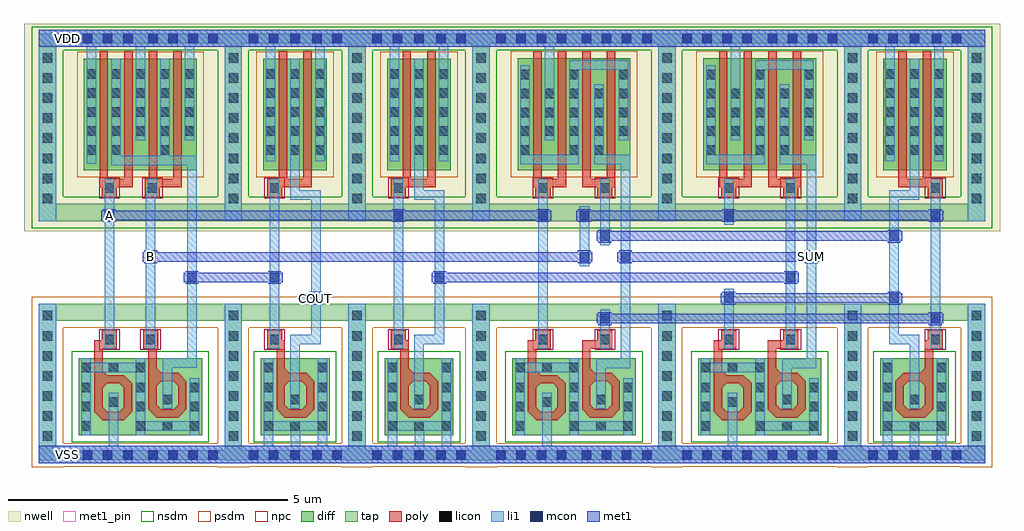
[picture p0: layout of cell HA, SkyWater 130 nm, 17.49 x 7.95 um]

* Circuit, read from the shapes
.subckt HA A B COUT SUM VDD VSS
XM1 n1 A VSS VSS sky130_fd_pr__nfet_01v8 w=2.6 l=0.1492
XM2 n1 B n2 VSS sky130_fd_pr__nfet_01v8 w=2.56 l=0.1466
XM3 VSS n2 COUT VSS sky130_fd_pr__nfet_01v8 w=2.56 l=0.1458
XM4 VSS A n3 VSS sky130_fd_pr__nfet_01v8 w=2.56 l=0.1462
XM5 n4 A VSS VSS sky130_fd_pr__nfet_01v8 w=2.6 l=0.1491
XM6 n4 B SUM VSS sky130_fd_pr__nfet_01v8 w=2.56 l=0.1466
XM7 n5 n6 VSS VSS sky130_fd_pr__nfet_01v8 w=2.6 l=0.1492
XM8 n5 n3 SUM VSS sky130_fd_pr__nfet_01v8 w=2.56 l=0.1458
XM9 VSS B n6 VSS sky130_fd_pr__nfet_01v8 w=2.56 l=0.1471
XM10 n2 A VDD VDD sky130_fd_pr__pfet_01v8 w=2 l=0.15 m=2
XM11 n2 B VDD VDD sky130_fd_pr__pfet_01v8 w=2 l=0.15 m=2
XM12 COUT n2 VDD VDD sky130_fd_pr__pfet_01v8 w=2 l=0.15 m=2
XM13 n3 A VDD VDD sky130_fd_pr__pfet_01v8 w=2 l=0.15 m=2
XM14 VDD A n7 VDD sky130_fd_pr__pfet_01v8 w=2 l=0.15 m=2
XM15 SUM n6 n7 VDD sky130_fd_pr__pfet_01v8 w=2 l=0.15 m=2
XM16 VDD B n8 VDD sky130_fd_pr__pfet_01v8 w=2 l=0.15 m=2
XM17 SUM n3 n8 VDD sky130_fd_pr__pfet_01v8 w=2 l=0.15 m=2
XM18 n6 B VDD VDD sky130_fd_pr__pfet_01v8 w=2 l=0.15 m=2
.ends

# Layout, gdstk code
import gdstk
lib = gdstk.Library(unit=1e-6, precision=1e-09)
def R(c, l, rs):  # rectangles x0, y0, x1, y1
    for r in rs: c.add(gdstk.rectangle(r[:2], r[2:], *l))
def A(c, l, x, y, w, h, nx, ny, dx, dy):  # array of equal rectangles
    R(c, l, [(x+i*dx, y+j*dy, x+i*dx+w, y+j*dy+h) for i in range(nx) for j in range(ny)])
def P(c, l, *ps):  # polygons
    for p in ps: c.add(gdstk.Polygon(p, *l))
nwell = (64, 20)
diff = (65, 20)
tap = (65, 44)
poly = (66, 20)
licon = (66, 44)
li1 = (67, 20)
mcon = (67, 44)
met1_pin = (68, 16)
met1 = (68, 20)
nsdm = (93, 44)
psdm = (94, 20)
npc = (95, 20)

c_ha = lib.new_cell('HA')
R(c_ha, nwell, [(-0.42,4.16,17.07,7.875)])
R(c_ha, diff, [(0.56,0.505,2.77,1.885), (3.825,0.505,5.055,1.885), (6.045,0.505,7.275,1.885), (8.33,0.505,10.54,1.885), (11.66,0.505,13.87,1.885), (14.925,0.505,16.155,1.885), (0.655,5.25,2.675,7.25), (3.865,5.25,5.005,7.25), (6.085,5.25,7.225,7.25), (14.975,5.25,16.115,7.25), (8.425,5.255,10.445,7.255), (11.755,5.255,13.775,7.255)])
A(c_ha, tap, 3.175, 0.055, 0.31, 0.01, 3, 1, 2.22, 0)
A(c_ha, tap, 3.175, 0.235, 0.31, 2.315, 3, 1, 2.22, 0)
A(c_ha, tap, 3.175, 4.65, 0.31, 2.875, 3, 1, 2.22, 0)
R(c_ha, tap, [(-0.155,0.055,0.155,0.065), (10.945,0.055,11.255,0.065), (14.275,0.055,14.585,0.065), (16.495,0.055,16.805,0.065), (-0.155,0.065,16.805,0.235), (-0.155,0.235,0.155,2.55), (10.945,0.235,11.255,2.55), (14.275,0.235,14.585,2.55), (16.495,0.235,16.805,2.55), (-0.155,2.55,16.805,2.86), (-0.155,4.34,16.805,4.65), (-0.155,4.65,0.155,7.525), (10.945,4.65,11.255,7.525), (14.275,4.65,14.585,7.525), (16.495,4.65,16.805,7.525), (-0.155,7.525,16.805,7.695)])
A(c_ha, poly, 0.935, 5.095, 0.15, 2.285, 4, 1, 0.44, 0)
A(c_ha, poly, 8.705, 5.1, 0.15, 2.285, 4, 1, 0.44, 0)
A(c_ha, poly, 12.035, 5.1, 0.15, 2.285, 4, 1, 0.44, 0)
R(c_ha, poly, [(0.99,0.775,1.37,0.925), (8.76,0.775,9.14,0.815), (12.09,0.775,12.47,0.815), (1.96,0.815,2.34,0.965), (4.255,0.815,4.635,0.965), (6.475,0.815,6.855,0.965), (8.72,0.815,9.14,0.925), (9.73,0.815,10.11,0.965), (12.05,0.815,12.47,0.925), (13.06,0.815,13.44,0.965), (15.345,0.815,15.725,0.965), (0.84,0.925,0.99,1.43), (1.37,0.925,1.52,1.43), (8.61,0.925,8.76,1.43), (9.14,0.925,9.29,1.43), (11.94,0.925,12.09,1.43), (12.47,0.925,12.62,1.43), (1.81,0.965,1.96,1.47), (2.34,0.965,2.49,1.47), (4.105,0.965,4.255,1.47), (4.635,0.965,4.785,1.47), (6.325,0.965,6.475,1.47), (6.855,0.965,7.005,1.47), (9.58,0.965,9.73,1.47), (10.11,0.965,10.26,1.47), (12.91,0.965,13.06,1.47), (13.44,0.965,13.59,1.47), (15.195,0.965,15.345,1.47), (15.725,0.965,15.875,1.47), (0.84,1.43,1.37,1.58), (8.61,1.43,9.14,1.58), (11.94,1.43,12.47,1.58), (1.81,1.47,2.34,1.62), (4.105,1.47,4.635,1.62), (6.325,1.47,6.855,1.62), (9.58,1.47,10.11,1.62), (12.91,1.47,13.44,1.62), (15.345,1.47,15.875,1.62), (0.84,1.58,0.99,2.055), (8.61,1.58,8.76,2.055), (11.94,1.58,12.09,2.055), (1.81,1.62,1.96,2.055), (4.105,1.62,4.255,2.055), (6.325,1.62,6.475,2.055), (9.58,1.62,9.73,2.055), (12.91,1.62,13.06,2.055), (15.725,1.62,15.875,2.055), (0.84,2.055,1.245,2.205), (1.715,2.055,1.985,2.385), (3.935,2.055,4.255,2.205), (6.155,2.055,6.475,2.205), (8.61,2.055,9.015,2.205), (9.58,2.055,10.125,2.205), (11.94,2.055,12.345,2.205), (12.91,2.055,13.455,2.205), (15.725,2.055,16.045,2.205), (0.975,2.205,1.245,2.385), (3.935,2.205,4.205,2.385), (6.155,2.205,6.425,2.385), (8.745,2.205,9.015,2.385), (9.855,2.205,10.125,2.385), (12.075,2.205,12.345,2.385), (13.185,2.205,13.455,2.385), (15.775,2.205,16.045,2.385), (0.975,4.765,1.245,4.945), (1.745,4.765,2.015,4.945), (3.935,4.765,4.205,4.945), (6.155,4.765,6.425,4.945), (15.775,4.765,16.045,4.945), (8.745,4.77,9.015,4.95), (9.855,4.77,10.125,4.95), (12.075,4.77,12.345,4.95), (13.185,4.77,13.455,4.95), (0.935,4.945,1.525,5.095), (1.745,4.945,2.405,5.095), (3.935,4.945,4.735,5.095), (6.155,4.945,6.955,5.095), (15.245,4.945,16.045,5.095), (8.705,4.95,9.295,5.1), (9.585,4.95,10.175,5.1), (12.035,4.95,12.625,5.1), (12.915,4.95,13.505,5.1), (4.145,5.095,4.295,7.38), (4.585,5.095,4.735,7.38), (6.365,5.095,6.515,7.38), (6.805,5.095,6.955,7.38), (15.245,5.095,15.395,7.38), (15.685,5.095,15.835,7.38)])
P(c_ha, poly, [(0.99,1.66),(0.99,1.58),(1.07,1.58)],
  [(1.96,1.7),(1.96,1.62),(2.04,1.62)],
  [(4.255,1.7),(4.255,1.62),(4.335,1.62)],
  [(6.475,1.7),(6.475,1.62),(6.555,1.62)],
  [(1.37,1.58),(1.37,1.43),(1.52,1.43)],
  [(0.99,1.35),(0.99,1.43),(1.07,1.43)],
  [(1.29,1.43),(1.37,1.43),(1.37,1.35)],
  [(0.99,1.005),(0.99,0.925),(1.07,0.925)],
  [(1.29,0.925),(1.37,0.925),(1.37,1.005)],
  [(0.84,0.925),(0.99,0.925),(0.99,0.775)],
  [(1.37,0.775),(1.37,0.925),(1.52,0.925)],
  [(2.34,1.62),(2.34,1.47),(2.49,1.47)],
  [(1.96,1.39),(1.96,1.47),(2.04,1.47)],
  [(2.26,1.47),(2.34,1.47),(2.34,1.39)],
  [(1.96,1.045),(1.96,0.965),(2.04,0.965)],
  [(2.26,0.965),(2.34,0.965),(2.34,1.045)],
  [(1.81,0.965),(1.96,0.965),(1.96,0.815)],
  [(2.34,0.815),(2.34,0.965),(2.49,0.965)],
  [(4.635,1.62),(4.635,1.47),(4.785,1.47)],
  [(4.255,1.39),(4.255,1.47),(4.335,1.47)],
  [(4.555,1.47),(4.635,1.47),(4.635,1.39)],
  [(4.255,1.045),(4.255,0.965),(4.335,0.965)],
  [(4.555,0.965),(4.635,0.965),(4.635,1.045)],
  [(4.105,0.965),(4.255,0.965),(4.255,0.815)],
  [(4.635,0.815),(4.635,0.965),(4.785,0.965)],
  [(6.855,1.62),(6.855,1.47),(7.005,1.47)],
  [(6.475,1.39),(6.475,1.47),(6.555,1.47)],
  [(6.775,1.47),(6.855,1.47),(6.855,1.39)],
  [(6.475,1.045),(6.475,0.965),(6.555,0.965)],
  [(6.775,0.965),(6.855,0.965),(6.855,1.045)],
  [(6.325,0.965),(6.475,0.965),(6.475,0.815)],
  [(6.855,0.815),(6.855,0.965),(7.005,0.965)],
  [(8.76,1.66),(8.76,1.58),(8.84,1.58)],
  [(9.73,1.7),(9.73,1.62),(9.81,1.62)],
  [(9.14,1.58),(9.14,1.43),(9.29,1.43)],
  [(8.76,1.35),(8.76,1.43),(8.84,1.43)],
  [(9.06,1.43),(9.14,1.43),(9.14,1.35)],
  [(8.76,1.005),(8.76,0.925),(8.84,0.925)],
  [(9.06,0.925),(9.14,0.925),(9.14,1.005)],
  [(8.61,0.925),(8.72,0.925),(8.72,0.815)],
  [(8.72,0.815),(8.76,0.815),(8.76,0.775)],
  [(9.14,0.775),(9.14,0.925),(9.29,0.925)],
  [(10.11,1.62),(10.11,1.47),(10.26,1.47)],
  [(9.73,1.39),(9.73,1.47),(9.81,1.47)],
  [(10.03,1.47),(10.11,1.47),(10.11,1.39)],
  [(9.73,1.045),(9.73,0.965),(9.81,0.965)],
  [(10.03,0.965),(10.11,0.965),(10.11,1.045)],
  [(9.58,0.965),(9.73,0.965),(9.73,0.815)],
  [(10.11,0.815),(10.11,0.965),(10.26,0.965)],
  [(12.09,1.66),(12.09,1.58),(12.17,1.58)],
  [(13.06,1.7),(13.06,1.62),(13.14,1.62)],
  [(15.645,1.62),(15.725,1.62),(15.725,1.7)],
  [(12.47,1.58),(12.47,1.43),(12.62,1.43)],
  [(12.09,1.35),(12.09,1.43),(12.17,1.43)],
  [(12.39,1.43),(12.47,1.43),(12.47,1.35)],
  [(12.09,1.005),(12.09,0.925),(12.17,0.925)],
  [(12.39,0.925),(12.47,0.925),(12.47,1.005)],
  [(11.94,0.925),(12.05,0.925),(12.05,0.815)],
  [(12.05,0.815),(12.09,0.815),(12.09,0.775)],
  [(12.47,0.775),(12.47,0.925),(12.62,0.925)],
  [(13.44,1.62),(13.44,1.47),(13.59,1.47)],
  [(13.06,1.39),(13.06,1.47),(13.14,1.47)],
  [(13.36,1.47),(13.44,1.47),(13.44,1.39)],
  [(13.06,1.045),(13.06,0.965),(13.14,0.965)],
  [(13.36,0.965),(13.44,0.965),(13.44,1.045)],
  [(12.91,0.965),(13.06,0.965),(13.06,0.815)],
  [(13.44,0.815),(13.44,0.965),(13.59,0.965)],
  [(15.195,1.47),(15.345,1.47),(15.345,1.62)],
  [(15.345,1.39),(15.345,1.47),(15.425,1.47)],
  [(15.645,1.47),(15.725,1.47),(15.725,1.39)],
  [(15.345,1.045),(15.345,0.965),(15.425,0.965)],
  [(15.645,0.965),(15.725,0.965),(15.725,1.045)],
  [(15.195,0.965),(15.345,0.965),(15.345,0.815)],
  [(15.725,0.815),(15.725,0.965),(15.875,0.965)])
A(c_ha, licon, 0.275, 0.065, 0.17, 0.17, 4, 2, 0.36, 7.46)
A(c_ha, licon, 1.805, 0.065, 0.17, 0.17, 4, 2, 0.36, 7.46)
A(c_ha, licon, 3.965, 0.065, 0.17, 0.17, 3, 2, 0.39, 7.46)
A(c_ha, licon, 6.185, 0.065, 0.17, 0.17, 3, 2, 0.39, 7.46)
A(c_ha, licon, 8.045, 0.065, 0.17, 0.17, 4, 2, 0.36, 7.46)
A(c_ha, licon, 9.575, 0.065, 0.17, 0.17, 4, 2, 0.36, 7.46)
A(c_ha, licon, 11.375, 0.065, 0.17, 0.17, 4, 2, 0.36, 7.46)
A(c_ha, licon, 12.905, 0.065, 0.17, 0.17, 4, 2, 0.36, 7.46)
A(c_ha, licon, 15.065, 0.065, 0.17, 0.17, 3, 2, 0.39, 7.46)
A(c_ha, licon, -0.085, 0.4, 0.17, 0.17, 1, 7, 0, 0.36)
A(c_ha, licon, 3.245, 0.4, 0.17, 0.17, 3, 7, 2.22, 0.36)
A(c_ha, licon, 11.015, 0.4, 0.17, 0.17, 1, 7, 0, 0.36)
A(c_ha, licon, 14.345, 0.4, 0.17, 0.17, 1, 7, 0, 0.36)
A(c_ha, licon, 16.565, 0.4, 0.17, 0.17, 1, 7, 0, 0.36)
A(c_ha, licon, 1.58, 0.585, 0.17, 0.17, 3, 1, 0.485, 0)
A(c_ha, licon, 9.35, 0.585, 0.17, 0.17, 3, 1, 0.485, 0)
A(c_ha, licon, 12.68, 0.585, 0.17, 0.17, 3, 1, 0.485, 0)
A(c_ha, licon, 0.61, 0.935, 0.17, 0.17, 3, 2, 0.97, 0.34)
A(c_ha, licon, 8.38, 0.935, 0.17, 0.17, 3, 2, 0.97, 0.34)
A(c_ha, licon, 11.71, 0.935, 0.17, 0.17, 3, 2, 0.97, 0.34)
A(c_ha, licon, 0.61, 1.635, 0.17, 0.17, 3, 1, 0.485, 0)
A(c_ha, licon, 8.38, 1.635, 0.17, 0.17, 3, 1, 0.485, 0)
A(c_ha, licon, 11.71, 1.635, 0.17, 0.17, 3, 1, 0.485, 0)
A(c_ha, licon, 1.765, 2.135, 0.17, 0.17, 3, 1, 2.22, 0)
A(c_ha, licon, -0.085, 4.66, 0.17, 0.17, 1, 8, 0, 0.36)
A(c_ha, licon, 3.245, 4.66, 0.17, 0.17, 3, 8, 2.22, 0.36)
A(c_ha, licon, 11.015, 4.66, 0.17, 0.17, 1, 8, 0, 0.36)
A(c_ha, licon, 14.345, 4.66, 0.17, 0.17, 1, 8, 0, 0.36)
A(c_ha, licon, 16.565, 4.66, 0.17, 0.17, 1, 8, 0, 0.36)
A(c_ha, licon, 3.915, 5.525, 0.17, 0.17, 3, 2, 0.44, 0.345)
A(c_ha, licon, 6.135, 5.525, 0.17, 0.17, 3, 2, 0.44, 0.345)
A(c_ha, licon, 15.015, 5.525, 0.17, 0.17, 3, 2, 0.44, 0.345)
A(c_ha, licon, 8.475, 5.865, 0.17, 0.17, 5, 3, 0.44, 0.34)
A(c_ha, licon, 11.805, 5.865, 0.17, 0.17, 5, 3, 0.44, 0.34)
A(c_ha, licon, 0.705, 5.87, 0.17, 0.17, 5, 4, 0.44, 0.34)
A(c_ha, licon, 3.915, 6.21, 0.17, 0.17, 3, 3, 0.44, 0.34)
A(c_ha, licon, 6.135, 6.21, 0.17, 0.17, 3, 3, 0.44, 0.34)
A(c_ha, licon, 15.015, 6.21, 0.17, 0.17, 3, 3, 0.44, 0.34)
A(c_ha, licon, 8.475, 6.885, 0.17, 0.17, 3, 1, 0.88, 0)
A(c_ha, licon, 11.805, 6.885, 0.17, 0.17, 3, 1, 0.88, 0)
R(c_ha, licon, [(3.605,0.065,3.775,0.235), (5.105,0.065,5.275,0.235), (5.825,0.065,5.995,0.235), (7.325,0.065,7.495,0.235), (14.705,0.065,14.875,0.235), (16.205,0.065,16.375,0.235), (0.61,0.585,0.78,0.755), (3.875,0.585,4.045,0.755), (4.355,0.585,4.525,0.755), (4.845,0.585,5.015,0.755), (6.095,0.585,6.265,0.755), (6.575,0.585,6.745,0.755), (7.065,0.585,7.235,0.755), (8.38,0.585,8.55,0.755), (11.71,0.585,11.88,0.755), (14.965,0.585,15.135,0.755), (15.455,0.585,15.625,0.755), (15.935,0.585,16.105,0.755), (3.875,0.935,4.045,1.105), (4.845,0.935,5.015,1.105), (6.095,0.935,6.265,1.105), (7.065,0.935,7.235,1.105), (14.965,0.935,15.135,1.105), (15.935,0.935,16.105,1.105), (1.095,1.01,1.265,1.18), (8.865,1.01,9.035,1.18), (12.195,1.01,12.365,1.18), (2.065,1.055,2.235,1.225), (4.355,1.055,4.525,1.225), (6.575,1.055,6.745,1.225), (9.835,1.055,10.005,1.225), (13.165,1.055,13.335,1.225), (15.455,1.055,15.625,1.225), (3.875,1.275,4.045,1.445), (4.845,1.275,5.015,1.445), (6.095,1.275,6.265,1.445), (7.065,1.275,7.235,1.445), (14.965,1.275,15.135,1.445), (15.935,1.275,16.105,1.445), (3.875,1.635,4.045,1.805), (4.845,1.635,5.015,1.805), (6.095,1.635,6.265,1.805), (7.065,1.635,7.235,1.805), (14.965,1.635,15.135,1.805), (15.935,1.635,16.105,1.805), (1.025,2.135,1.195,2.305), (8.795,2.135,8.965,2.305), (9.905,2.135,10.075,2.305), (12.125,2.135,12.295,2.305), (13.235,2.135,13.405,2.305), (15.825,2.135,15.995,2.305), (1.025,4.845,1.195,5.015), (1.795,4.845,1.965,5.015), (3.985,4.845,4.155,5.015), (6.205,4.845,6.375,5.015), (15.825,4.845,15.995,5.015), (8.795,4.85,8.965,5.02), (9.905,4.85,10.075,5.02), (12.125,4.85,12.295,5.02), (13.235,4.85,13.405,5.02), (0.705,5.525,0.875,5.695), (1.145,5.525,1.315,5.695), (2.025,5.525,2.195,5.695), (8.475,5.525,8.645,5.695), (9.355,5.525,9.525,5.695), (9.795,5.525,9.965,5.695), (11.805,5.525,11.975,5.695), (12.685,5.525,12.855,5.695), (13.125,5.525,13.295,5.695), (3.605,7.525,3.775,7.695), (5.105,7.525,5.275,7.695), (5.825,7.525,5.995,7.695), (7.325,7.525,7.495,7.695), (14.705,7.525,14.875,7.695), (16.205,7.525,16.375,7.695)])
A(c_ha, li1, 3.175, 0.31, 0.31, 2.55, 3, 1, 2.22, 0)
A(c_ha, li1, 3.875, 0.31, 0.17, 0.275, 3, 1, 0.485, 0)
A(c_ha, li1, 6.095, 0.31, 0.17, 0.275, 3, 1, 0.485, 0)
A(c_ha, li1, 14.965, 0.31, 0.17, 0.275, 3, 1, 0.485, 0)
A(c_ha, li1, 3.175, 4.34, 0.31, 3.12, 3, 1, 2.22, 0)
R(c_ha, li1, [(-0.155,0,16.805,0.31), (-0.155,0.31,0.155,2.86), (1.095,0.31,1.265,1.26), (8.865,0.31,9.035,1.26), (10.945,0.31,11.255,2.86), (12.195,0.31,12.365,1.26), (14.275,0.31,14.585,2.86), (16.495,0.31,16.805,2.86), (0.61,0.505,0.78,1.635), (1.58,0.505,1.75,0.585), (2.55,0.505,2.72,0.585), (8.38,0.505,8.55,1.635), (9.35,0.505,9.52,0.585), (10.32,0.505,10.49,0.585), (11.71,0.505,11.88,1.635), (12.68,0.505,12.85,0.585), (13.65,0.505,13.82,0.585), (1.58,0.585,2.72,0.755), (3.875,0.585,5.015,0.755), (6.095,0.585,7.235,0.755), (9.35,0.585,10.49,0.755), (12.68,0.585,13.82,0.755), (14.965,0.585,16.105,0.755), (1.58,0.755,1.75,1.635), (2.55,0.755,2.72,1.525), (3.875,0.755,4.045,1.885), (4.845,0.755,5.015,1.885), (6.095,0.755,6.265,1.885), (7.065,0.755,7.235,1.885), (9.35,0.755,9.52,1.635), (10.32,0.755,10.49,1.525), (12.68,0.755,12.85,1.635), (13.65,0.755,13.82,1.525), (14.965,0.755,15.135,1.885), (15.935,0.755,16.105,1.885), (2.065,0.975,2.235,1.71), (4.355,0.975,4.525,2.135), (6.575,0.975,6.745,2.135), (9.835,0.975,10.005,1.705), (13.165,0.975,13.335,1.705), (15.455,0.975,15.625,2.135), (0.61,1.635,1.75,1.805), (8.38,1.635,9.52,1.805), (11.71,1.635,12.85,1.805), (9.835,1.705,10.445,1.875), (13.165,1.705,13.775,1.875), (2.065,1.71,2.675,1.88), (0.61,1.805,0.78,1.885), (1.58,1.805,1.75,1.885), (8.38,1.805,8.55,1.885), (9.35,1.805,9.52,1.885), (11.71,1.805,11.88,1.885), (12.68,1.805,12.85,1.885), (10.275,1.875,10.445,5.355), (13.605,1.875,13.775,5.355), (2.505,1.88,2.675,5.345), (1.025,2.055,1.195,5.095), (1.765,2.055,1.935,4.765), (3.985,2.055,4.155,5.095), (6.205,2.055,6.375,5.095), (8.795,2.055,8.965,5.1), (9.905,2.055,10.075,2.755), (12.125,2.055,12.295,3.125), (13.235,2.055,13.405,5.1), (15.825,2.055,15.995,5.095), (4.355,2.135,4.895,2.305), (6.575,2.135,7.115,2.305), (15.085,2.135,15.625,2.305), (4.725,2.305,4.895,4.725), (6.945,2.305,7.115,4.725), (15.085,2.305,15.255,4.725), (9.535,3.535,9.705,4.605), (9.905,3.905,10.075,5.1), (12.125,4.275,12.295,5.1), (-0.155,4.34,0.155,7.46), (10.945,4.34,11.255,7.46), (14.275,4.34,14.585,7.46), (16.495,4.34,16.805,7.46), (4.355,4.725,4.895,4.895), (6.575,4.725,7.115,4.895), (15.085,4.725,15.625,4.895), (1.765,4.765,1.965,4.94), (4.355,4.895,4.525,7.25), (6.575,4.895,6.745,7.25), (15.455,4.895,15.625,7.25), (1.795,4.94,1.965,5.095), (1.145,5.345,2.675,5.515), (8.475,5.355,9.525,5.525), (9.795,5.355,10.445,5.525), (11.805,5.355,12.855,5.525), (13.125,5.355,13.775,5.525), (0.705,5.365,0.875,7.46), (3.915,5.415,4.085,7.46), (4.795,5.415,4.965,7.46), (6.135,5.415,6.305,7.46), (7.015,5.415,7.185,7.46), (15.015,5.415,15.185,7.46), (15.895,5.415,16.065,7.46), (1.145,5.515,1.315,7.25), (2.025,5.515,2.195,7.25), (8.475,5.525,8.645,7.135), (9.355,5.525,9.525,7.055), (9.795,5.525,9.965,6.795), (11.805,5.525,11.975,7.135), (12.685,5.525,12.855,7.055), (13.125,5.525,13.295,6.795), (1.585,5.785,1.755,7.46), (2.465,5.785,2.635,7.46), (8.915,5.785,9.085,7.46), (10.235,5.785,10.405,7.055), (12.245,5.785,12.415,7.46), (13.565,5.785,13.735,7.055), (9.355,7.055,10.405,7.225), (12.685,7.055,13.735,7.225), (-0.155,7.46,16.805,7.77)])
A(c_ha, mcon, 0.275, 0.065, 0.17, 0.17, 4, 2, 0.36, 7.46)
A(c_ha, mcon, 1.805, 0.065, 0.17, 0.17, 4, 2, 0.36, 7.46)
A(c_ha, mcon, 3.965, 0.065, 0.17, 0.17, 3, 2, 0.39, 7.46)
A(c_ha, mcon, 6.185, 0.065, 0.17, 0.17, 3, 2, 0.39, 7.46)
A(c_ha, mcon, 8.045, 0.065, 0.17, 0.17, 4, 2, 0.36, 7.46)
A(c_ha, mcon, 9.575, 0.065, 0.17, 0.17, 4, 2, 0.36, 7.46)
A(c_ha, mcon, 11.375, 0.065, 0.17, 0.17, 4, 2, 0.36, 7.46)
A(c_ha, mcon, 12.905, 0.065, 0.17, 0.17, 4, 2, 0.36, 7.46)
A(c_ha, mcon, 15.065, 0.065, 0.17, 0.17, 3, 2, 0.39, 7.46)
R(c_ha, mcon, [(3.605,0.065,3.775,0.235), (5.105,0.065,5.275,0.235), (5.825,0.065,5.995,0.235), (7.325,0.065,7.495,0.235), (14.705,0.065,14.875,0.235), (16.205,0.065,16.375,0.235), (9.905,2.505,10.075,2.675), (15.825,2.505,15.995,2.675), (4.725,2.875,4.895,3.045), (12.125,2.875,12.295,3.045), (15.085,2.875,15.255,3.045), (2.505,3.245,2.675,3.415), (3.985,3.245,4.155,3.415), (6.945,3.245,7.115,3.415), (13.235,3.245,13.405,3.415), (1.765,3.615,1.935,3.785), (9.535,3.615,9.705,3.785), (10.275,3.615,10.445,3.785), (13.605,3.615,13.775,3.785), (9.905,3.985,10.075,4.155), (15.085,3.985,15.255,4.155), (1.025,4.355,1.195,4.525), (6.205,4.355,6.375,4.525), (8.795,4.355,8.965,4.525), (9.535,4.355,9.705,4.525), (12.125,4.355,12.295,4.525), (15.825,4.355,15.995,4.525), (3.605,7.525,3.775,7.695), (5.105,7.525,5.275,7.695), (5.825,7.525,5.995,7.695), (7.325,7.525,7.495,7.695), (14.705,7.525,14.875,7.695), (16.205,7.525,16.375,7.695)])
R(c_ha, met1_pin, [(0.275,0.065,0.445,0.235), (4.725,2.875,4.895,3.045), (1.765,3.615,1.935,3.785), (13.605,3.615,13.775,3.785), (1.025,4.355,1.195,4.525), (0.275,7.525,0.445,7.695)])
R(c_ha, met1, [(-0.155,0,16.805,0.31), (9.875,2.475,10.105,2.505), (15.795,2.475,16.025,2.505), (9.845,2.505,16.055,2.675), (9.875,2.675,10.105,2.705), (15.795,2.675,16.025,2.705), (4.695,2.845,4.925,2.875), (12.095,2.845,12.325,2.875), (15.055,2.845,15.285,2.875), (4.545,2.875,4.955,3.045), (12.065,2.875,15.315,3.045), (4.695,3.045,4.925,3.075), (12.095,3.045,12.325,3.075), (15.055,3.045,15.285,3.075), (2.475,3.215,2.705,3.245), (3.955,3.215,4.185,3.245), (6.915,3.215,7.145,3.245), (13.205,3.215,13.435,3.245), (2.445,3.245,4.215,3.415), (6.885,3.245,13.465,3.415), (2.475,3.415,2.705,3.445), (3.955,3.415,4.185,3.445), (6.915,3.415,7.145,3.445), (13.205,3.415,13.435,3.445), (1.735,3.585,1.965,3.615), (9.505,3.585,9.735,3.615), (10.245,3.585,10.475,3.615), (13.575,3.585,13.805,3.615), (1.705,3.615,9.765,3.785), (10.215,3.615,13.835,3.785), (1.735,3.785,1.965,3.815), (9.505,3.785,9.735,3.815), (10.245,3.785,10.475,3.815), (13.575,3.785,13.805,3.815), (9.875,3.955,10.105,3.985), (15.055,3.955,15.285,3.985), (9.845,3.985,15.315,4.155), (9.875,4.155,10.105,4.185), (15.055,4.155,15.285,4.185), (0.995,4.325,1.225,4.355), (6.175,4.325,6.405,4.355), (8.765,4.325,8.995,4.355), (9.505,4.325,9.735,4.355), (12.095,4.325,12.325,4.355), (15.795,4.325,16.025,4.355), (0.965,4.355,9.025,4.525), (9.475,4.355,16.055,4.525), (0.995,4.525,1.225,4.555), (6.175,4.525,6.405,4.555), (8.765,4.525,8.995,4.555), (9.505,4.525,9.735,4.555), (12.095,4.525,12.325,4.555), (15.795,4.525,16.025,4.555), (-0.155,7.46,16.805,7.77)])
A(c_ha, nsdm, 3.05, 4.775, 0.56, 2.625, 3, 1, 2.22, 0)
R(c_ha, nsdm, [(0.435,0.38,2.895,2.01), (3.7,0.38,5.18,2.01), (5.92,0.38,7.4,2.01), (8.205,0.38,10.665,2.01), (11.535,0.38,13.995,2.01), (14.8,0.38,16.28,2.01), (-0.28,4.215,16.93,4.775), (-0.28,4.775,0.28,7.4), (10.82,4.775,11.38,7.4), (14.15,4.775,14.71,7.4), (16.37,4.775,16.93,7.4), (-0.28,7.4,16.93,7.82)])
A(c_ha, psdm, 3.05, -0.07, 0.56, 0.01, 3, 1, 2.22, 0)
A(c_ha, psdm, 3.05, 0.36, 0.56, 2.065, 3, 1, 2.22, 0)
R(c_ha, psdm, [(-0.28,-0.07,0.28,-0.06), (10.82,-0.07,11.38,-0.06), (14.15,-0.07,14.71,-0.06), (16.37,-0.07,16.93,-0.06), (-0.28,-0.06,16.93,0.36), (-0.28,0.36,0.28,2.425), (10.82,0.36,11.38,2.425), (14.15,0.36,14.71,2.425), (16.37,0.36,16.93,2.425), (-0.28,2.425,16.93,2.985), (0.53,5.125,2.8,7.375), (3.74,5.125,5.13,7.375), (5.96,5.125,7.35,7.375), (14.85,5.125,16.24,7.375), (8.3,5.13,10.57,7.38), (11.63,5.13,13.9,7.38)])
A(c_ha, npc, 1.665, 2.035, 0.37, 0.37, 3, 1, 2.22, 0)
R(c_ha, npc, [(0.925,2.035,1.295,2.405), (8.695,2.035,9.065,2.405), (9.805,2.035,10.175,2.405), (12.025,2.035,12.395,2.405), (13.135,2.035,13.505,2.405), (15.725,2.035,16.095,2.405), (0.925,4.745,1.295,5.115), (1.695,4.745,2.065,5.115), (3.885,4.745,4.255,5.115), (6.105,4.745,6.475,5.115), (15.725,4.745,16.095,5.115), (8.695,4.75,9.065,5.12), (9.805,4.75,10.175,5.12), (12.025,4.75,12.395,5.12), (13.135,4.75,13.505,5.12)])
c_ha.add(gdstk.Label('SUM', (13.69,3.7), layer=68, texttype=16))
c_ha.add(gdstk.Label('COUT', (4.81,2.96), layer=68, texttype=16))
c_ha.add(gdstk.Label('A', (1.11,4.44), layer=68, texttype=16))
c_ha.add(gdstk.Label('B', (1.85,3.7), layer=68, texttype=16))
c_ha.add(gdstk.Label('VDD', (0.36,7.61), layer=68, texttype=16))
c_ha.add(gdstk.Label('VSS', (0.36,0.15), layer=68, texttype=16))

lib.write_gds('HA.gds')
